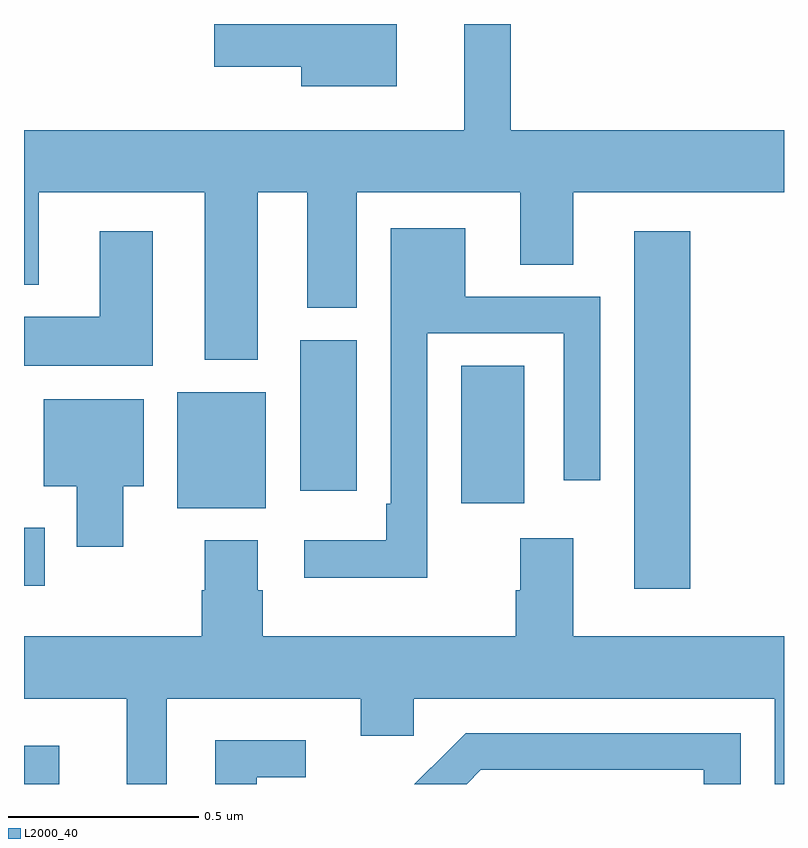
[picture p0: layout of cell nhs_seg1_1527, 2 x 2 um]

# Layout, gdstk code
import gdstk
lib = gdstk.Library(unit=1e-6, precision=1e-09)
def R(c, l, rs):  # rectangles x0, y0, x1, y1
    for r in rs: c.add(gdstk.rectangle(r[:2], r[2:], *l))
def P(c, l, *ps):  # polygons
    for p in ps: c.add(gdstk.Polygon(p, *l))
L2000_40 = (2000, 40)

nhs_seg1_1527 = lib.new_cell('nhs_seg1_1527')
R(nhs_seg1_1527, L2000_40, [(130,526.199,130.093,526.3), (131.606,526.713,131.753,527.653), (130,526.721,130.054,526.873), (130.403,526.925,130.636,527.23), (131.15,526.938,131.317,527.3), (130.727,526.971,130.876,527.367)])
P(nhs_seg1_1527, L2000_40, [(130.981,528.199),(130.5,528.199),(130.5,528.086),(130.73,528.086),(130.73,528.035),(130.981,528.035)],
  [(130.615,527.756),(130.745,527.756),(130.745,527.452),(130.876,527.452),(130.876,527.756),(131.306,527.756),(131.306,527.566),(131.446,527.566),(131.446,527.756),(132,527.756),(132,527.92),(131.281,527.92),(131.281,528.199),(131.159,528.199),(131.159,527.92),(130,527.92),(130,527.513),(130.039,527.513),(130.039,527.756),(130.475,527.756),(130.475,527.315),(130.615,527.315)],
  [(131.061,527.385),(131.421,527.385),(131.421,526.998),(131.517,526.998),(131.517,527.481),(131.161,527.481),(131.161,527.662),(130.965,527.662),(130.965,526.936),(130.953,526.936),(130.953,526.84),(130.737,526.84),(130.737,526.742),(131.061,526.742)],
  [(130.339,527.653),(130.199,527.653),(130.199,527.428),(130,527.428),(130,527.3),(130.339,527.3)],
  [(130.261,526.982),(130.315,526.982),(130.315,527.212),(130.052,527.212),(130.052,526.982),(130.139,526.982),(130.139,526.824),(130.261,526.824)],
  [(130.375,526.424),(130.886,526.424),(130.886,526.326),(131.025,526.326),(131.025,526.424),(131.975,526.424),(131.975,526.199),(132,526.199),(132,526.588),(131.446,526.588),(131.446,526.846),(131.306,526.846),(131.306,526.709),(131.294,526.709),(131.294,526.588),(130.628,526.588),(130.628,526.709),(130.615,526.709),(130.615,526.84),(130.475,526.84),(130.475,526.709),(130.468,526.709),(130.468,526.588),(130,526.588),(130,526.424),(130.271,526.424),(130.271,526.199),(130.375,526.199)],
  [(131.202,526.236),(131.789,526.236),(131.789,526.199),(131.886,526.199),(131.886,526.332),(131.162,526.332),(131.071,526.241),(131.07,526.242),(131.027,526.199),(131.165,526.199)],
  [(130.612,526.217),(130.741,526.217),(130.741,526.314),(130.503,526.314),(130.503,526.199),(130.612,526.199)])

lib.write_gds('nhs_seg1_1527.gds')
